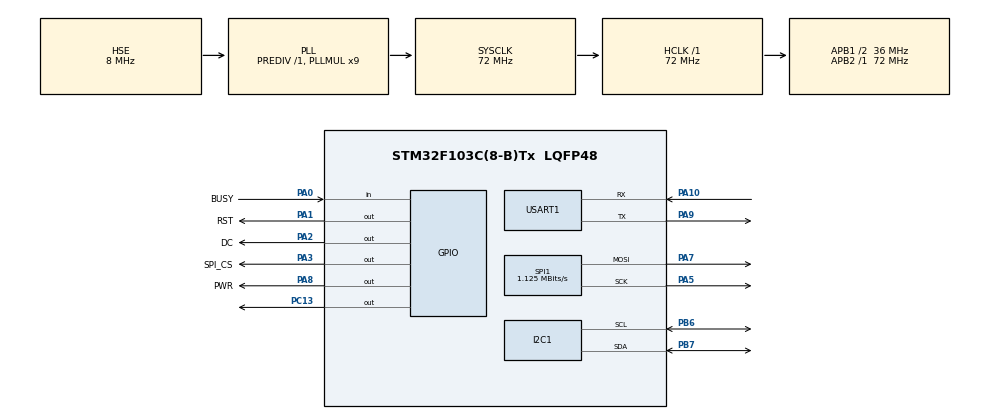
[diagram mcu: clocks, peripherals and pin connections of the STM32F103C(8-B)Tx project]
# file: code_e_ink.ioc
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Mcu.Family=STM32F1
Mcu.Name=STM32F103C(8-B)Tx
Mcu.Package=LQFP48
NVIC.PriorityGroup=NVIC_PRIORITYGROUP_4
NVIC.USART1_IRQn=true\:0\:0\:false\:false\:true\:true\:true\:true
PA0-WKUP.GPIO_Label=BUSY
PA0-WKUP.Signal=GPIO_Input
PA1.GPIO_Label=RST
PA1.Signal=GPIO_Output
PA10.Mode=Asynchronous
PA10.Signal=USART1_RX
PA13.Mode=Serial_Wire
PA13.Signal=SYS_JTMS-SWDIO
PA14.Mode=Serial_Wire
PA14.Signal=SYS_JTCK-SWCLK
PA2.GPIO_Label=DC
PA2.Signal=GPIO_Output
PA3.GPIO_Label=SPI_CS
PA3.Signal=GPIO_Output
PA5.Mode=TX_Only_Simplex_Unidirect_Master
PA5.Signal=SPI1_SCK
PA7.Mode=TX_Only_Simplex_Unidirect_Master
PA7.Signal=SPI1_MOSI
PA8.GPIO_Label=PWR
PA8.Signal=GPIO_Output
PA9.Mode=Asynchronous
PA9.Signal=USART1_TX
PB6.Mode=I2C
PB6.Signal=I2C1_SCL
PB7.Mode=I2C
PB7.Signal=I2C1_SDA
PC13-TAMPER-RTC.Signal=GPIO_Output
PD0-OSC_IN.Mode=HSE-External-Oscillator
PD0-OSC_IN.Signal=RCC_OSC_IN
PD1-OSC_OUT.Mode=HSE-External-Oscillator
PD1-OSC_OUT.Signal=RCC_OSC_OUT
ProjectManager.HeapSize=0x200
ProjectManager.StackSize=0x400
ProjectManager.TargetToolchain=STM32CubeIDE
RCC.AHBFreq_Value=72000000
RCC.APB1CLKDivider=RCC_HCLK_DIV2
RCC.APB1Freq_Value=36000000
RCC.APB1TimFreq_Value=72000000
RCC.APB2Freq_Value=72000000
RCC.APB2TimFreq_Value=72000000
RCC.HCLKFreq_Value=72000000
RCC.PLLMUL=RCC_PLL_MUL9
RCC.PLLSourceVirtual=RCC_PLLSOURCE_HSE
RCC.SYSCLKFreq_VALUE=72000000
RCC.SYSCLKSource=RCC_SYSCLKSOURCE_PLLCLK
RCC.USBFreq_Value=72000000
SPI1.BaudRatePrescaler=SPI_BAUDRATEPRESCALER_64
SPI1.CalculateBaudRate=1.125 MBits/s
SPI1.Direction=SPI_DIRECTION_2LINES
SPI1.Mode=SPI_MODE_MASTER
SPI1.VirtualType=VM_MASTER
USART1.VirtualMode=VM_ASYNC
board=custom

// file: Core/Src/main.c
/* USER CODE BEGIN Header */
/**
  ******************************************************************************
  * @file           : main.c
  * @brief          : Main program body
  ******************************************************************************
  * @attention
  *
  * Copyright (c) 2025 STMicroelectronics.
  * All rights reserved.
  *
  * This software is licensed under terms that can be found in the LICENSE file
  * in the root directory of this software component.
  * If no LICENSE file comes with this software, it is provided AS-IS.
  *
  ******************************************************************************
  */
/* USER CODE END Header */
#include "main.h"

/* USER CODE BEGIN Includes */
#include "EPD_Test.h"
/* USER CODE END Includes */

/* USER CODE BEGIN PTD */
typedef struct {
	uint8_t seconds;
	uint8_t minutes;
	uint8_t hour;
	uint8_t dayofweek;
	uint8_t dayofmonth;
	uint8_t month;
	uint8_t year;
} TIME;

TIME time;
/* USER CODE END PTD */

/* USER CODE BEGIN PM */
#define DS3231_ADDRESS 0b1101000

/* USER CODE END PM */

I2C_HandleTypeDef hi2c1;

SPI_HandleTypeDef hspi1;

UART_HandleTypeDef huart1;

/* USER CODE BEGIN PV */
char buffer[15];
uint8_t rxData;

/* USER CODE END PV */

void SystemClock_Config(void);
static void MX_GPIO_Init(void);
static void MX_SPI1_Init(void);
static void MX_USART1_UART_Init(void);
static void MX_I2C1_Init(void);

/* USER CODE BEGIN 0 */
/*
void HAL_UART_RxCpltCallback(UART_HandleTypeDef *huart)
{
  if(huart->Instance==USART1)
  {
    if(rxData==78) // Ascii value of 'N' is 78 (N for NO)
    {
    	HAL_GPIO_WritePin(GPIOB, GPIO_PIN_3, 0);
    }
    else if (rxData==89) // Ascii value of 'Y' is 89 (Y for YES)
    {
    	HAL_GPIO_WritePin(GPIOB, GPIO_PIN_3, 1);
    }
    HAL_UART_Receive_IT(&huart1,&rxData,1); // Enabling interrupt receive again
  }
}
*/
uint8_t decToBcd(int val)
{
  return (uint8_t)( (val/10*16) + (val%10) );
}

int bcdToDec(uint8_t val)
{
  return (int)( (val/16*10) + (val%16) );
}

void Set_Time (uint8_t sec, uint8_t min, uint8_t hour, uint8_t dow, uint8_t dom, uint8_t month, uint8_t year)
{
	uint8_t set_time[7];
	set_time[0] = decToBcd(sec);
	set_time[1] = decToBcd(min);
	set_time[2] = decToBcd(hour);
	set_time[3] = decToBcd(dow);
	set_time[4] = decToBcd(dom);
	set_time[5] = decToBcd(month);
	set_time[6] = decToBcd(year);

	HAL_I2C_Mem_Write(&hi2c1, DS3231_ADDRESS, 0x00, 1, set_time, 7, 1000);
}

void Get_Time (void)
{
	uint8_t get_time[7];
	HAL_I2C_Mem_Read(&hi2c1, DS3231_ADDRESS, 0x00, 1, get_time, 7, 1000);
	time.seconds = bcdToDec(get_time[0]);
	time.minutes = bcdToDec(get_time[1]);
	time.hour = bcdToDec(get_time[2]);
	time.dayofweek = bcdToDec(get_time[3]);
	time.dayofmonth = bcdToDec(get_time[4]);
	time.month = bcdToDec(get_time[5]);
	time.year = bcdToDec(get_time[6]);
}

//HAL_UART_Receive_IT(&huart1, &rxData, 1);

/* USER CODE END 0 */

int main(void)
{

  /* MCU Configuration--------------------------------------------------------*/

  /* Reset of all peripherals, Initializes the Flash interface and the Systick. */
  HAL_Init();

  /* Configure the system clock */
  SystemClock_Config();

  /* Initialize all configured peripherals */
  MX_GPIO_Init();
  MX_SPI1_Init();
  MX_USART1_UART_Init();
  MX_I2C1_Init();
  /* USER CODE BEGIN 2 */
 EPD_test();
  Set_Time
   (
 	00,	// Second
 	03, // Minute
 	14, // Hour
 	6,  // Day of week
 	28,  // Day of month
 	2,  // Month
 	25  // Year (20**)
   );
  /* USER CODE END 2 */

  /* Infinite loop */
  while (1)
  {

    /* USER CODE BEGIN 3 */
	  //Get_Time();
	 HAL_GPIO_TogglePin(GPIOC, GPIO_PIN_13);
	  HAL_Delay(1000);
  }
  /* USER CODE END 3 */
}

void SystemClock_Config(void)
{
  RCC_OscInitTypeDef RCC_OscInitStruct = {0};
  RCC_ClkInitTypeDef RCC_ClkInitStruct = {0};

  /** Initializes the RCC Oscillators according to the specified parameters
  * in the RCC_OscInitTypeDef structure.
  */
  RCC_OscInitStruct.OscillatorType = RCC_OSCILLATORTYPE_HSE;
  RCC_OscInitStruct.HSEState = RCC_HSE_ON;
  RCC_OscInitStruct.HSEPredivValue = RCC_HSE_PREDIV_DIV1;
  RCC_OscInitStruct.HSIState = RCC_HSI_ON;
  RCC_OscInitStruct.PLL.PLLState = RCC_PLL_ON;
  RCC_OscInitStruct.PLL.PLLSource = RCC_PLLSOURCE_HSE;
  RCC_OscInitStruct.PLL.PLLMUL = RCC_PLL_MUL9;
  if (HAL_RCC_OscConfig(&RCC_OscInitStruct) != HAL_OK)
  {
    Error_Handler();
  }

  /** Initializes the CPU, AHB and APB buses clocks
  */
  RCC_ClkInitStruct.ClockType = RCC_CLOCKTYPE_HCLK|RCC_CLOCKTYPE_SYSCLK
                              |RCC_CLOCKTYPE_PCLK1|RCC_CLOCKTYPE_PCLK2;
  RCC_ClkInitStruct.SYSCLKSource = RCC_SYSCLKSOURCE_PLLCLK;
  RCC_ClkInitStruct.AHBCLKDivider = RCC_SYSCLK_DIV1;
  RCC_ClkInitStruct.APB1CLKDivider = RCC_HCLK_DIV2;
  RCC_ClkInitStruct.APB2CLKDivider = RCC_HCLK_DIV1;

  if (HAL_RCC_ClockConfig(&RCC_ClkInitStruct, FLASH_LATENCY_2) != HAL_OK)
  {
    Error_Handler();
  }
}

static void MX_I2C1_Init(void)
{

  hi2c1.Instance = I2C1;
  hi2c1.Init.ClockSpeed = 100000;
  hi2c1.Init.DutyCycle = I2C_DUTYCYCLE_2;
  hi2c1.Init.OwnAddress1 = 0;
  hi2c1.Init.AddressingMode = I2C_ADDRESSINGMODE_7BIT;
  hi2c1.Init.DualAddressMode = I2C_DUALADDRESS_DISABLE;
  hi2c1.Init.OwnAddress2 = 0;
  hi2c1.Init.GeneralCallMode = I2C_GENERALCALL_DISABLE;
  hi2c1.Init.NoStretchMode = I2C_NOSTRETCH_DISABLE;
  if (HAL_I2C_Init(&hi2c1) != HAL_OK)
  {
    Error_Handler();
  }

}

static void MX_SPI1_Init(void)
{

  /* SPI1 parameter configuration*/
  hspi1.Instance = SPI1;
  hspi1.Init.Mode = SPI_MODE_MASTER;
  hspi1.Init.Direction = SPI_DIRECTION_2LINES;
  hspi1.Init.DataSize = SPI_DATASIZE_8BIT;
  hspi1.Init.CLKPolarity = SPI_POLARITY_LOW;
  hspi1.Init.CLKPhase = SPI_PHASE_1EDGE;
  hspi1.Init.NSS = SPI_NSS_SOFT;
  hspi1.Init.BaudRatePrescaler = SPI_BAUDRATEPRESCALER_64;
  hspi1.Init.FirstBit = SPI_FIRSTBIT_MSB;
  hspi1.Init.TIMode = SPI_TIMODE_DISABLE;
  hspi1.Init.CRCCalculation = SPI_CRCCALCULATION_DISABLE;
  hspi1.Init.CRCPolynomial = 10;
  if (HAL_SPI_Init(&hspi1) != HAL_OK)
  {
    Error_Handler();
  }

}

static void MX_USART1_UART_Init(void)
{

  huart1.Instance = USART1;
  huart1.Init.BaudRate = 115200;
  huart1.Init.WordLength = UART_WORDLENGTH_8B;
  huart1.Init.StopBits = UART_STOPBITS_1;
  huart1.Init.Parity = UART_PARITY_NONE;
  huart1.Init.Mode = UART_MODE_TX_RX;
  huart1.Init.HwFlowCtl = UART_HWCONTROL_NONE;
  huart1.Init.OverSampling = UART_OVERSAMPLING_16;
  if (HAL_UART_Init(&huart1) != HAL_OK)
  {
    Error_Handler();
  }

}

static void MX_GPIO_Init(void)
{
  GPIO_InitTypeDef GPIO_InitStruct = {0};

  /* GPIO Ports Clock Enable */
  __HAL_RCC_GPIOC_CLK_ENABLE();
  __HAL_RCC_GPIOD_CLK_ENABLE();
  __HAL_RCC_GPIOA_CLK_ENABLE();
  __HAL_RCC_GPIOB_CLK_ENABLE();

  /*Configure GPIO pin Output Level */
  HAL_GPIO_WritePin(GPIOC, GPIO_PIN_13, GPIO_PIN_RESET);

  /*Configure GPIO pin Output Level */
  HAL_GPIO_WritePin(GPIOA, RST_Pin|DC_Pin|SPI_CS_Pin|PWR_Pin, GPIO_PIN_RESET);

  /*Configure GPIO pin : PC13 */
  GPIO_InitStruct.Pin = GPIO_PIN_13;
  GPIO_InitStruct.Mode = GPIO_MODE_OUTPUT_PP;
  GPIO_InitStruct.Pull = GPIO_NOPULL;
  GPIO_InitStruct.Speed = GPIO_SPEED_FREQ_LOW;
  HAL_GPIO_Init(GPIOC, &GPIO_InitStruct);

  /*Configure GPIO pin : BUSY_Pin */
  GPIO_InitStruct.Pin = BUSY_Pin;
  GPIO_InitStruct.Mode = GPIO_MODE_INPUT;
  GPIO_InitStruct.Pull = GPIO_NOPULL;
  HAL_GPIO_Init(BUSY_GPIO_Port, &GPIO_InitStruct);

  /*Configure GPIO pins : RST_Pin DC_Pin SPI_CS_Pin PWR_Pin */
  GPIO_InitStruct.Pin = RST_Pin|DC_Pin|SPI_CS_Pin|PWR_Pin;
  GPIO_InitStruct.Mode = GPIO_MODE_OUTPUT_PP;
  GPIO_InitStruct.Pull = GPIO_NOPULL;
  GPIO_InitStruct.Speed = GPIO_SPEED_FREQ_LOW;
  HAL_GPIO_Init(GPIOA, &GPIO_InitStruct);

}

/* USER CODE BEGIN 4 */
void HAL_UART_RxCpltCallback(UART_HandleTypeDef *huart)
{
  if(huart->Instance==USART1)
  {
    if(rxData==78) // Ascii value of 'N' is 78 (N for NO)
    {
    	HAL_GPIO_WritePin(GPIOB, GPIO_PIN_3, 0);
    }
    else if (rxData==89) // Ascii value of 'Y' is 89 (Y for YES)
    {
    	HAL_GPIO_WritePin(GPIOB, GPIO_PIN_3, 1);
    }
    HAL_UART_Receive_IT(&huart1,&rxData,1); // Enabling interrupt receive again
  }
}
/* USER CODE END 4 */

void Error_Handler(void)
{
  __disable_irq();
  while (1)
  {
  }
}
